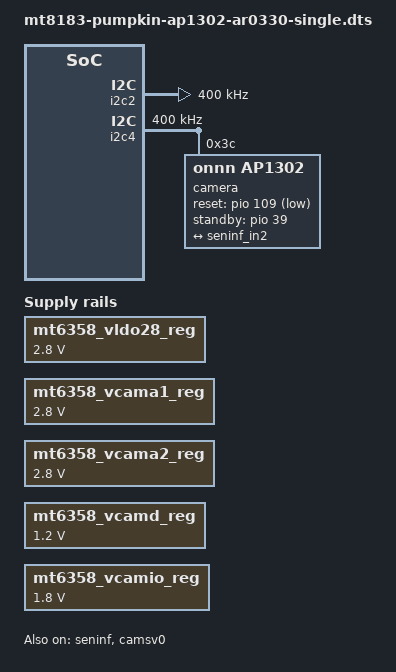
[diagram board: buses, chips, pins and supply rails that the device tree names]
// SPDX-License-Identifier: GPL-2.0
/*
 * Copyright (c) 2020 Laurent Pinchart <laurent.pinchart@ideasonboard.com>
 */

/dts-v1/;
/plugin/;

#include <dt-bindings/clock/mt8183-clk.h>
#include <dt-bindings/gpio/gpio.h>
#include "mt8183-pinfunc.h"

&reserved_memory {
	ramoops@0x4FF00000 {
		compatible = "ramoops";
		reg = <0x0 0x4FF00000 0x0 0x00100000>;
		record-size = <0x8000>;
		console-size = <0x8000>;
		ftrace-size = <0x0>;
		pmsg-size = <0x8000>;
	};
};

&pio {
	cam1_pins_default: cam1_pins_default {
		pins_clk_rst {
			pinmux = <PINMUX_GPIO40__FUNC_GPIO40>,
				 <PINMUX_GPIO100__FUNC_CMMCLK1>,
				 <PINMUX_GPIO102__FUNC_GPIO102>;
		};
	};

	cam2_pins_default: cam2_pins_default {
		pins_clk_rst {
			pinmux = <PINMUX_GPIO39__FUNC_GPIO39>,
				 <PINMUX_GPIO108__FUNC_CMMCLK2>,
				 <PINMUX_GPIO109__FUNC_GPIO109>;
		};
	};
};

&mt6358_vldo28_reg {
	regulator-min-microvolt = <2800000>;
	regulator-max-microvolt = <2800000>;
};

&mt6358_vcama1_reg {
	regulator-min-microvolt = <2800000>;
	regulator-max-microvolt = <2800000>;
};

&mt6358_vcama2_reg {
	regulator-min-microvolt = <2800000>;
	regulator-max-microvolt = <2800000>;
};

&mt6358_vcamd_reg {
	regulator-min-microvolt = <1200000>;
	regulator-max-microvolt = <1200000>;
};

&mt6358_vcamio_reg {
	regulator-min-microvolt = <1800000>;
	regulator-max-microvolt = <1800000>;
};

&i2c2 {
	clock-frequency = <400000>;

	camera@3c {
		compatible = "onnn,ap1302";
		reg = <0x3c>;

		status = "disabled";

		pinctrl-names = "default";
		pinctrl-0 = <&cam1_pins_default>;

		clocks = <&topckgen CLK_TOP_MUX_CAMTG2>;

		reset-gpios = <&pio 102 GPIO_ACTIVE_LOW>;
		standby-gpios = <&pio 40 GPIO_ACTIVE_HIGH>;

		port {
			isp1_out: endpoint {
				remote-endpoint = <&seninf_in1>;
				data-lanes = <1 2 3 4>;
			};
		};

		sensors {
			#address-cells = <1>;
			#size-cells = <0>;

			onnn,model = "onnn,ar0144";

			sensor@0 {
				reg = <0>;

				vdd-supply = <&mt6358_vcamd_reg>;
				vaa-supply = <&mt6358_vcama1_reg>;
				vddio-supply = <&reg_1p8v_ext>;
			};
		};
	};
};

&i2c4 {
	clock-frequency = <400000>;

	camera@3c {
		compatible = "onnn,ap1302";
		reg = <0x3c>;

		pinctrl-names = "default";
		pinctrl-0 = <&cam2_pins_default>;

		clocks = <&topckgen CLK_TOP_MUX_CAMTG3>;

		reset-gpios = <&pio 109 GPIO_ACTIVE_LOW>;
		standby-gpios = <&pio 39 GPIO_ACTIVE_HIGH>;

		port {
			isp2_out: endpoint {
				remote-endpoint = <&seninf_in2>;
				data-lanes = <1 2 3 4>;
			};
		};

		sensors {
			#address-cells = <1>;
			#size-cells = <0>;

			onnn,model = "onnn,ar0330";

			sensor@0 {
				reg = <0>;

				vdd-supply = <&reg_1p8v_ext>;
				vddpll-supply = <&mt6358_vldo28_reg>;
				vaa-supply = <&mt6358_vcama1_reg>;
				vddio-supply = <&mt6358_vcamio_reg>;
			};
		};
	};
};

&seninf {
	status = "okay";

	ports {
		port@1 {
			seninf_in1: endpoint {
				clock-lanes = <2>;
				data-lanes = <1 3 0 4>;
				remote-endpoint = <&isp1_out>;
			};
		};

		port@2 {
			seninf_in2: endpoint {
				clock-lanes = <2>;
				data-lanes = <1 3 0 4>;
				remote-endpoint = <&isp2_out>;
			};
		};
	};
};

&camsv0 {
	status = "okay";
};
